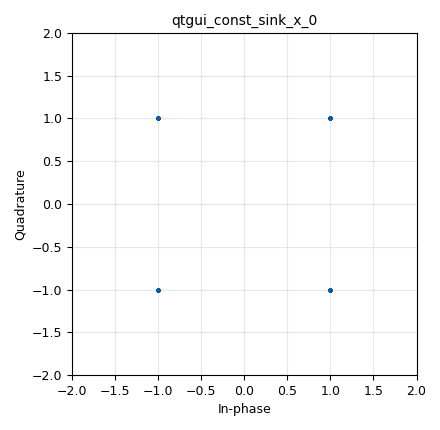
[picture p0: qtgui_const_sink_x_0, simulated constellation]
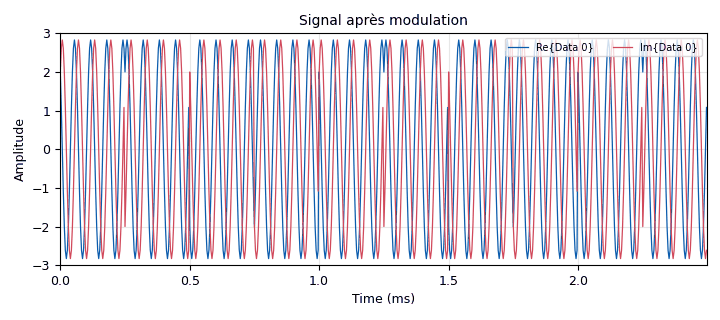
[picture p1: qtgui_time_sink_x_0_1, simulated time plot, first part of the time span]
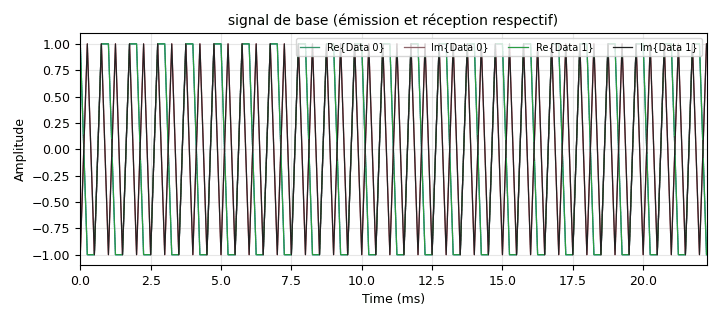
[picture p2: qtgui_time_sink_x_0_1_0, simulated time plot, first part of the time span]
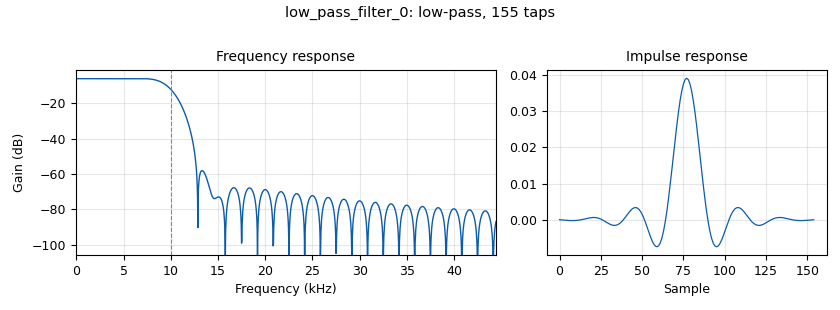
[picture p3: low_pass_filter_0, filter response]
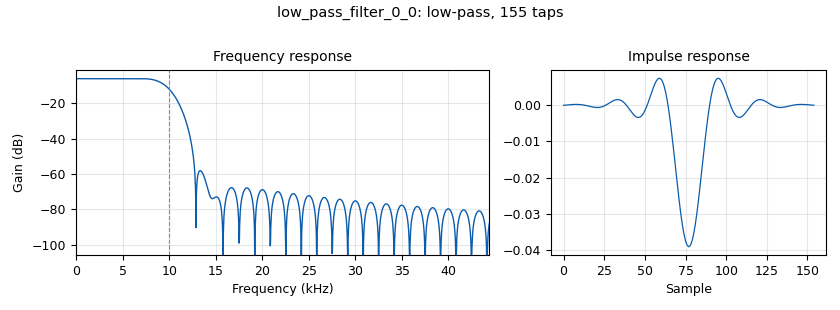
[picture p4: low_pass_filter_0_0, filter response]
options:
  parameters:
    generate_options: qt_gui
    id: QPSK_demod_fixe
    output_language: python
    title: Not titled yet
  states: {}

blocks:
- name: Fc
  id: variable
  parameters:
    value: '16000'
  states: {}
- name: Fs
  id: variable
  parameters:
    value: 4 * Fc
  states: {}
- name: Rb
  id: variable
  parameters:
    value: '8000'
  states: {}
- name: samp_rate
  id: variable
  parameters:
    value: '256000'
  states: {}
- name: symbol_rate
  id: variable
  parameters:
    value: Rb / 2
  states: {}
- name: analog_sig_source_x_0
  id: analog_sig_source_x
  parameters:
    amp: '2'
    freq: Fc
    offset: '0'
    phase: '0'
    samp_rate: samp_rate
    type: complex
    waveform: analog.GR_COS_WAVE
  states: {}
- name: blocks_complex_to_float_0
  id: blocks_complex_to_float
  parameters: {}
  states: {}
- name: blocks_complex_to_float_2
  id: blocks_complex_to_float
  parameters: {}
  states: {}
- name: blocks_delay_0
  id: blocks_delay
  parameters:
    delay: '78'
    type: complex
  states: {}
- name: blocks_float_to_complex_0
  id: blocks_float_to_complex
  parameters: {}
  states: {}
- name: blocks_keep_one_in_n_0
  id: blocks_keep_one_in_n
  parameters:
    n: int(samp_rate/symbol_rate)
    type: complex
  states: {}
- name: blocks_keep_one_in_n_0_0
  id: blocks_keep_one_in_n
  parameters:
    n: int(samp_rate/symbol_rate)
    type: complex
  states: {}
- name: blocks_multiply_xx_0_1
  id: blocks_multiply_xx
  parameters:
    type: complex
  states: {}
- name: blocks_multiply_xx_0_1_0
  id: blocks_multiply_xx
  parameters:
    type: float
  states: {}
- name: blocks_multiply_xx_0_1_0_0
  id: blocks_multiply_xx
  parameters:
    type: float
  states: {}
- name: blocks_repeat_0
  id: blocks_repeat
  parameters:
    interp: int(samp_rate/symbol_rate)
    type: complex
  states: {}
- name: blocks_throttle2_0_0_1
  id: blocks_throttle2
  parameters:
    samples_per_second: samp_rate
    type: complex
  states: {}
- name: blocks_vector_source_x_0
  id: blocks_vector_source_x
  parameters:
    repeat: 'True'
    type: byte
    vector: list(range(4))
  states: {}
- name: epy_block_1
  id: epy_block
  parameters:
    _source_code: |
      import numpy as np
      from gnuradio import gr

      class blk(gr.sync_block):
          def __init__(self):
              gr.sync_block.__init__(
                  self,
                  name='Mapping 4PSK',
                  in_sig=[np.uint8],
                  out_sig=[np.complex64]
              )
              # Mapping Gray : bit de poids fort -> I, bit de poids faible -> Q
              self.dico = {
                  0: 1+1j,    # 00
                  1: 1-1j,    # 01
                  2: -1+1j,   # 10
                  3: -1-1j    # 11
              }

          def work(self, input_items, output_items):
              symboles = input_items[0]
              out = output_items[0]

              for i, s in enumerate(symboles):
                  out[i] = self.dico[int(s)]

              return len(out)
  states: {}
- name: epy_block_1_0
  id: epy_block
  parameters:
    _source_code: |
      import numpy as np
      from gnuradio import gr

      class blk(gr.sync_block):
          def __init__(self):
              gr.sync_block.__init__(
                  self,
                  name='4PSK symbole plus proche',
                  in_sig=[np.complex64],
                  out_sig=[np.complex64]
              )

          def work(self, input_items, output_items):
              x = input_items[0]
              out = output_items[0]

              for i, v in enumerate(x):
                  # les 4 points sont dans les 4 quadrants : decision par le signe de I et de Q
                  I = 1 if v.real >= 0 else -1
                  Q = 1 if v.imag >= 0 else -1
                  out[i] = complex(I, Q)

              return len(out)
  states: {}
- name: low_pass_filter_0
  id: low_pass_filter
  parameters:
    cutoff_freq: '10000'
    gain: '0.5'
    interp: '1'
    samp_rate: samp_rate
    type: interp_fir_filter_fff
    width: '4000'
    win: window.WIN_HAMMING
  states: {}
- name: low_pass_filter_0_0
  id: low_pass_filter
  parameters:
    cutoff_freq: '10000'
    gain: '-0.5'
    interp: '1'
    samp_rate: samp_rate
    type: interp_fir_filter_fff
    width: '4000'
    win: window.WIN_HAMMING
  states: {}
- name: note_0
  id: note
  parameters:
    note: 4 périodes par symbole
  states: {}
- name: note_0_0
  id: note
  parameters:
    note: symbol_rate < Fc*2
  states: {}
- name: note_0_0_0
  id: note
  parameters:
    note: Rb = log2(2^M) * symbol_rate
  states: {}
- name: note_0_2
  id: note
  parameters:
    note: Fs > 2 * Fc
  states: {}
- name: qtgui_const_sink_x_0
  id: qtgui_const_sink_x
  parameters:
    size: '1024'
    type: complex
  states: {}
- name: qtgui_time_sink_x_0_1
  id: qtgui_time_sink_x
  parameters:
    name: Signal après modulation
    size: '8192'
    srate: samp_rate
    type: complex
    ymax: '3'
    ymin: '-3'
  states: {}
- name: qtgui_time_sink_x_0_1_0
  id: qtgui_time_sink_x
  parameters:
    autoscale: 'True'
    name: signal de base (émission et réception respectif)
    nconnections: '2'
    size: '8192'
    srate: symbol_rate
    type: complex
    update_time: '1'
    ymax: '2'
    ymin: '-2'
  states: {}

connections:
- [analog_sig_source_x_0, '0', blocks_complex_to_float_2, '0']
- [analog_sig_source_x_0, '0', blocks_multiply_xx_0_1, '0']
- [blocks_complex_to_float_0, '0', blocks_multiply_xx_0_1_0, '1']
- [blocks_complex_to_float_0, '0', blocks_multiply_xx_0_1_0_0, '0']
- [blocks_complex_to_float_2, '0', blocks_multiply_xx_0_1_0, '0']
- [blocks_complex_to_float_2, '1', blocks_multiply_xx_0_1_0_0, '1']
- [blocks_delay_0, '0', blocks_keep_one_in_n_0_0, '0']
- [blocks_float_to_complex_0, '0', epy_block_1_0, '0']
- [blocks_keep_one_in_n_0, '0', qtgui_time_sink_x_0_1_0, '0']
- [blocks_keep_one_in_n_0_0, '0', qtgui_time_sink_x_0_1_0, '1']
- [blocks_multiply_xx_0_1, '0', blocks_complex_to_float_0, '0']
- [blocks_multiply_xx_0_1, '0', qtgui_time_sink_x_0_1, '0']
- [blocks_multiply_xx_0_1_0, '0', low_pass_filter_0, '0']
- [blocks_multiply_xx_0_1_0_0, '0', low_pass_filter_0_0, '0']
- [blocks_repeat_0, '0', blocks_throttle2_0_0_1, '0']
- [blocks_throttle2_0_0_1, '0', blocks_delay_0, '0']
- [blocks_throttle2_0_0_1, '0', blocks_multiply_xx_0_1, '1']
- [blocks_throttle2_0_0_1, '0', qtgui_const_sink_x_0, '0']
- [blocks_vector_source_x_0, '0', epy_block_1, '0']
- [epy_block_1, '0', blocks_repeat_0, '0']
- [epy_block_1_0, '0', blocks_keep_one_in_n_0, '0']
- [low_pass_filter_0, '0', blocks_float_to_complex_0, '0']
- [low_pass_filter_0_0, '0', blocks_float_to_complex_0, '1']

metadata:
  file_format: 1
  grc_version: 3.10.12.0
